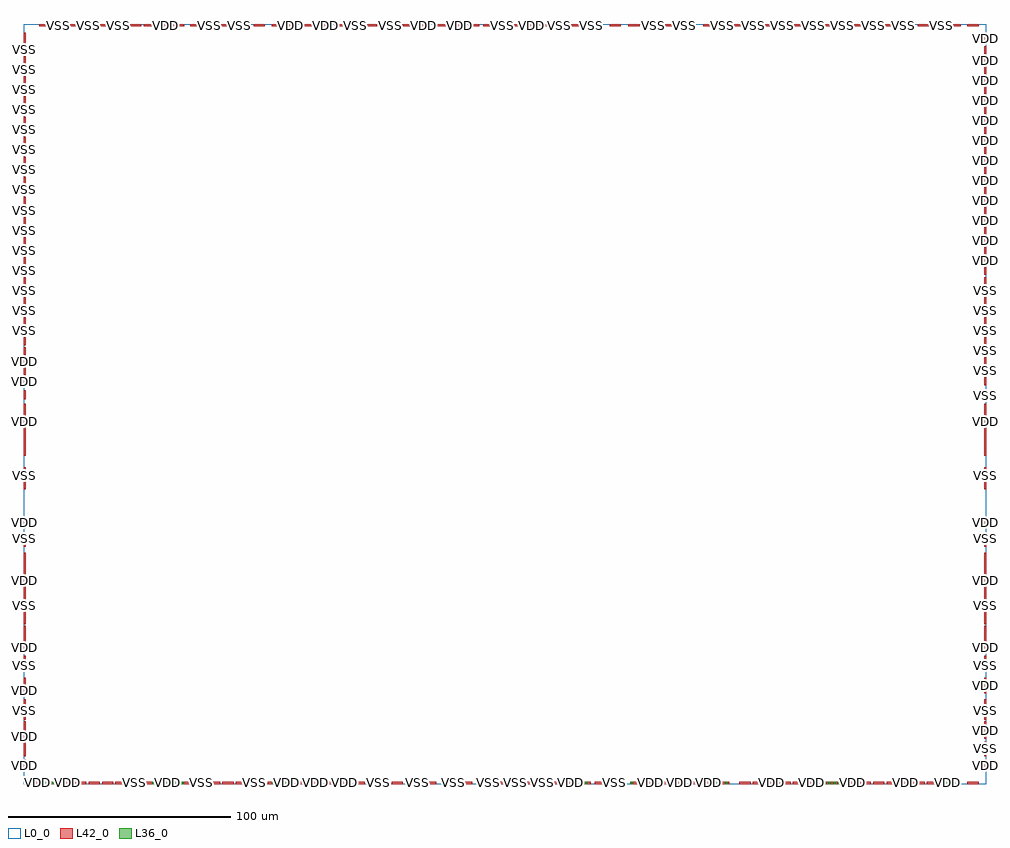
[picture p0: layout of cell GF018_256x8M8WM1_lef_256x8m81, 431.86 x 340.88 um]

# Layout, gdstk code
import gdstk
lib = gdstk.Library(unit=1e-6, precision=1e-09)
def R(c, l, rs):  # rectangles x0, y0, x1, y1
    for r in rs: c.add(gdstk.rectangle(r[:2], r[2:], *l))
def A(c, l, x, y, w, h, nx, ny, dx, dy):  # array of equal rectangles
    R(c, l, [(x+i*dx, y+j*dy, x+i*dx+w, y+j*dy+h) for i in range(nx) for j in range(ny)])
L0_0 = (0, 0)
L36_0 = (36, 0)
L42_0 = (42, 0)

gf018_256x8m8wm1_lef_256 = lib.new_cell('GF018_256x8M8WM1_lef_256x8m81')
R(gf018_256x8m8wm1_lef_256, L0_0, [(0,0,431.86,340.88)])
A(gf018_256x8m8wm1_lef_256, L42_0, 17.21, 0, 5, 1, 7, 1, 6, 0)
A(gf018_256x8m8wm1_lef_256, L42_0, 71.21, 0, 5, 1, 6, 1, 6, 0)
A(gf018_256x8m8wm1_lef_256, L42_0, 115.55, 0, 5, 1, 6, 1, 6.5, 0)
A(gf018_256x8m8wm1_lef_256, L42_0, 206.165, 0, 5, 1, 6, 1, 6, 0)
A(gf018_256x8m8wm1_lef_256, L42_0, 272.29, 0, 5, 1, 6, 1, 6.5, 0)
A(gf018_256x8m8wm1_lef_256, L42_0, 321.09, 0, 5, 1, 6, 1, 6, 0)
A(gf018_256x8m8wm1_lef_256, L42_0, 369.09, 0, 5, 1, 7, 1, 6, 0)
A(gf018_256x8m8wm1_lef_256, L42_0, 0, 178.88, 1, 3.5, 1, 34, 0, 4.5)
A(gf018_256x8m8wm1_lef_256, L42_0, 430.86, 178.88, 1, 3.5, 1, 34, 0, 4.5)
R(gf018_256x8m8wm1_lef_256, L42_0, [(3.53,0,8.53,1), (10.195,0,15.195,1), (62.215,0,67.215,1), (109.55,0,114.55,1), (156.62,0,161.62,1), (165.11,0,170.11,1), (174.155,0,179.155,1), (180.155,0,185.155,1), (190.14,0,195.14,1), (196.14,0,201.14,1), (242.83,0,247.83,1), (249.38,0,254.38,1), (256.165,0,261.165,1), (262.39,0,267.39,1), (311.475,0,316.475,1), (360.085,0,365.085,1), (412.095,0,417.095,1), (423.33,0,428.33,1), (0,6.16,1,11.16), (430.86,6.16,431.86,11.16), (0,12.51,1,18.86), (430.86,12.51,431.86,18.86), (0,20.3,1,28.145), (430.86,20.3,431.86,28.145), (0,28.83,1,37.98), (430.86,28.83,431.86,37.98), (0,40.76,1,47.575), (430.86,40.76,431.86,47.575), (0,50.88,1,57.465), (430.86,50.88,431.86,57.465), (0,60.18,1,70.89), (430.86,60.18,431.86,70.89), (0,71.64,1,88.65), (430.86,71.64,431.86,88.65), (0,90.08,1,103.695), (430.86,90.08,431.86,103.695), (0,106.41,1,111.41), (430.86,106.41,431.86,111.41), (0,114.69,1,119.69), (430.86,114.69,431.86,119.69), (0,132.175,1,142.08), (430.86,132.175,431.86,142.08), (0,147.15,1,170.625), (430.86,147.15,431.86,170.625), (0,172.68,1,176.63), (430.86,172.68,431.86,176.63), (0,331.88,1,336.88), (430.86,331.88,431.86,336.88), (7.005,339.88,12.005,340.88), (13.13,339.88,18.13,340.88), (20.685,339.88,25.685,340.88), (26.81,339.88,31.81,340.88), (34.005,339.88,39.005,340.88), (40.13,339.88,45.13,340.88), (47.685,339.88,52.685,340.88), (53.81,339.88,58.81,340.88), (61.005,339.88,66.005,340.88), (67.13,339.88,72.13,340.88), (74.685,339.88,79.685,340.88), (80.81,339.88,85.81,340.88), (88.005,339.88,93.005,340.88), (94.13,339.88,99.13,340.88), (103.265,339.88,108.265,340.88), (111.29,339.88,116.29,340.88), (117.415,339.88,122.415,340.88), (125.79,339.88,130.79,340.88), (132.86,339.88,137.86,340.88), (139.385,339.88,144.385,340.88), (146.365,339.88,151.365,340.88), (153.55,339.88,158.55,340.88), (161.905,339.88,166.905,340.88), (170.12,339.88,175.12,340.88), (177.075,339.88,182.075,340.88), (184.74,339.88,189.74,340.88), (192.925,339.88,197.925,340.88), (199.41,339.88,204.41,340.88), (206.15,339.88,211.15,340.88), (212.15,339.88,217.15,340.88), (218.565,339.88,223.565,340.88), (225.345,339.88,230.345,340.88), (231.565,339.88,236.565,340.88), (237.69,339.88,242.69,340.88), (244.505,339.88,249.505,340.88), (252.325,339.88,257.325,340.88), (262.845,339.88,267.845,340.88), (271.31,339.88,276.31,340.88), (279.95,339.88,284.95,340.88), (287.735,339.88,292.735,340.88), (293.955,339.88,298.955,340.88), (304.885,339.88,309.885,340.88), (311.01,339.88,316.01,340.88), (318.565,339.88,323.565,340.88), (324.69,339.88,329.69,340.88), (331.885,339.88,336.885,340.88), (338.01,339.88,343.01,340.88), (345.565,339.88,350.565,340.88), (351.69,339.88,356.69,340.88), (358.885,339.88,363.885,340.88), (365.01,339.88,370.01,340.88), (372.565,339.88,377.565,340.88), (378.69,339.88,383.69,340.88), (385.885,339.88,390.885,340.88), (392.01,339.88,397.01,340.88), (401.145,339.88,406.145,340.88), (409.17,339.88,414.17,340.88), (415.295,339.88,420.295,340.88), (423.33,339.88,428.33,340.88)])
gf018_256x8m8wm1_lef_256.add(gdstk.FlexPath([(67.83,0),(67.83,1)], 1.12, ends="flush", simple_path=True, layer=36, datatype=0))  # L36_0
gf018_256x8m8wm1_lef_256.add(gdstk.FlexPath([(65.83,0),(65.83,1)], 1.12, ends="flush", simple_path=True, layer=36, datatype=0))  # L36_0
gf018_256x8m8wm1_lef_256.add(gdstk.FlexPath([(154.855,0),(154.855,1)], 1.12, ends="flush", simple_path=True, layer=36, datatype=0))  # L36_0
gf018_256x8m8wm1_lef_256.add(gdstk.FlexPath([(163.32,0),(163.32,1)], 1.12, ends="flush", simple_path=True, layer=36, datatype=0))  # L36_0
gf018_256x8m8wm1_lef_256.add(gdstk.FlexPath([(269.42,0),(269.42,1)], 1.12, ends="flush", simple_path=True, layer=36, datatype=0))  # L36_0
gf018_256x8m8wm1_lef_256.add(gdstk.FlexPath([(171.775,0),(171.775,1)], 1.12, ends="flush", simple_path=True, layer=36, datatype=0))  # L36_0
gf018_256x8m8wm1_lef_256.add(gdstk.FlexPath([(203.5,0),(203.5,1)], 1.12, ends="flush", simple_path=True, layer=36, datatype=0))  # L36_0
gf018_256x8m8wm1_lef_256.add(gdstk.FlexPath([(252.27,0),(252.27,1)], 1.12, ends="flush", simple_path=True, layer=36, datatype=0))  # L36_0
gf018_256x8m8wm1_lef_256.add(gdstk.FlexPath([(272.645,0),(272.645,1)], 1.12, ends="flush", simple_path=True, layer=36, datatype=0))  # L36_0
gf018_256x8m8wm1_lef_256.add(gdstk.FlexPath([(276.38,0),(276.38,1)], 1.12, ends="flush", simple_path=True, layer=36, datatype=0))  # L36_0
gf018_256x8m8wm1_lef_256.add(gdstk.FlexPath([(281.885,0),(281.885,1)], 1.12, ends="flush", simple_path=True, layer=36, datatype=0))  # L36_0
gf018_256x8m8wm1_lef_256.add(gdstk.FlexPath([(307.795,0),(307.795,1)], 1.12, ends="flush", simple_path=True, layer=36, datatype=0))  # L36_0
gf018_256x8m8wm1_lef_256.add(gdstk.FlexPath([(311.135,0),(311.135,1)], 1.12, ends="flush", simple_path=True, layer=36, datatype=0))  # L36_0
gf018_256x8m8wm1_lef_256.add(gdstk.FlexPath([(315.35,0),(315.35,1)], 1.12, ends="flush", simple_path=True, layer=36, datatype=0))  # L36_0
gf018_256x8m8wm1_lef_256.add(gdstk.FlexPath([(356.105,0),(356.105,1)], 1.12, ends="flush", simple_path=True, layer=36, datatype=0))  # L36_0
gf018_256x8m8wm1_lef_256.add(gdstk.FlexPath([(359.47,0),(359.47,1)], 1.12, ends="flush", simple_path=True, layer=36, datatype=0))  # L36_0
gf018_256x8m8wm1_lef_256.add(gdstk.FlexPath([(361.46,0),(361.46,1)], 1.12, ends="flush", simple_path=True, layer=36, datatype=0))  # L36_0
gf018_256x8m8wm1_lef_256.add(gdstk.FlexPath([(363.71,0),(363.71,1)], 1.12, ends="flush", simple_path=True, layer=36, datatype=0))  # L36_0
gf018_256x8m8wm1_lef_256.add(gdstk.FlexPath([(365.71,0),(365.71,1)], 1.12, ends="flush", simple_path=True, layer=36, datatype=0))  # L36_0
gf018_256x8m8wm1_lef_256.add(gdstk.FlexPath([(369.075,0),(369.075,1)], 1.12, ends="flush", simple_path=True, layer=36, datatype=0))  # L36_0
gf018_256x8m8wm1_lef_256.add(gdstk.FlexPath([(409.835,0),(409.835,1)], 1.12, ends="flush", simple_path=True, layer=36, datatype=0))  # L36_0
gf018_256x8m8wm1_lef_256.add(gdstk.FlexPath([(414.035,0),(414.035,1)], 1.12, ends="flush", simple_path=True, layer=36, datatype=0))  # L36_0
gf018_256x8m8wm1_lef_256.add(gdstk.FlexPath([(71.195,0),(71.195,1)], 1.12, ends="flush", simple_path=True, layer=36, datatype=0))  # L36_0
gf018_256x8m8wm1_lef_256.add(gdstk.FlexPath([(111.955,0),(111.955,1)], 1.12, ends="flush", simple_path=True, layer=36, datatype=0))  # L36_0
gf018_256x8m8wm1_lef_256.add(gdstk.FlexPath([(117.58,0),(117.58,1)], 1.12, ends="flush", simple_path=True, layer=36, datatype=0))  # L36_0
gf018_256x8m8wm1_lef_256.add(gdstk.FlexPath([(119.535,0),(119.535,1)], 1.12, ends="flush", simple_path=True, layer=36, datatype=0))  # L36_0
gf018_256x8m8wm1_lef_256.add(gdstk.FlexPath([(140.24,0),(140.24,1)], 1.12, ends="flush", simple_path=True, layer=36, datatype=0))  # L36_0
gf018_256x8m8wm1_lef_256.add(gdstk.FlexPath([(149.085,0),(149.085,1)], 1.12, ends="flush", simple_path=True, layer=36, datatype=0))  # L36_0
gf018_256x8m8wm1_lef_256.add(gdstk.FlexPath([(417.42,0),(417.42,1)], 1.12, ends="flush", simple_path=True, layer=36, datatype=0))  # L36_0
gf018_256x8m8wm1_lef_256.add(gdstk.FlexPath([(9.88,0),(9.88,1)], 1.12, ends="flush", simple_path=True, layer=36, datatype=0))  # L36_0
gf018_256x8m8wm1_lef_256.add(gdstk.FlexPath([(13.255,0),(13.255,1)], 1.12, ends="flush", simple_path=True, layer=36, datatype=0))  # L36_0
gf018_256x8m8wm1_lef_256.add(gdstk.FlexPath([(17.46,0),(17.46,1)], 1.12, ends="flush", simple_path=True, layer=36, datatype=0))  # L36_0
gf018_256x8m8wm1_lef_256.add(gdstk.FlexPath([(58.225,0),(58.225,1)], 1.12, ends="flush", simple_path=True, layer=36, datatype=0))  # L36_0
gf018_256x8m8wm1_lef_256.add(gdstk.FlexPath([(61.59,0),(61.59,1)], 1.12, ends="flush", simple_path=True, layer=36, datatype=0))  # L36_0
gf018_256x8m8wm1_lef_256.add(gdstk.FlexPath([(63.58,0),(63.58,1)], 1.12, ends="flush", simple_path=True, layer=36, datatype=0))  # L36_0
gf018_256x8m8wm1_lef_256.add(gdstk.Label('VSS', (431.4,194.45), layer=42, texttype=10))
gf018_256x8m8wm1_lef_256.add(gdstk.Label('VSS', (431.4,174.47), layer=42, texttype=10))
gf018_256x8m8wm1_lef_256.add(gdstk.Label('VSS', (354.19,340.415), layer=42, texttype=10))
gf018_256x8m8wm1_lef_256.add(gdstk.Label('VSS', (431.4,185.45), layer=42, texttype=10))
gf018_256x8m8wm1_lef_256.add(gdstk.Label('VSS', (313.51,340.415), layer=42, texttype=10))
gf018_256x8m8wm1_lef_256.add(gdstk.Label('VSS', (411.67,340.415), layer=42, texttype=10))
gf018_256x8m8wm1_lef_256.add(gdstk.Label('VSS', (381.19,340.415), layer=42, texttype=10))
gf018_256x8m8wm1_lef_256.add(gdstk.Label('VSS', (296.455,340.415), layer=42, texttype=10))
gf018_256x8m8wm1_lef_256.add(gdstk.Label('VDD', (227.845,340.415), layer=42, texttype=10))
gf018_256x8m8wm1_lef_256.add(gdstk.Label('VDD', (234.065,340.415), layer=42, texttype=10))
gf018_256x8m8wm1_lef_256.add(gdstk.Label('VSS', (221.065,340.415), layer=42, texttype=10))
gf018_256x8m8wm1_lef_256.add(gdstk.Label('VSS', (254.825,340.415), layer=42, texttype=10))
gf018_256x8m8wm1_lef_256.add(gdstk.Label('VDD', (417.795,340.415), layer=42, texttype=10))
gf018_256x8m8wm1_lef_256.add(gdstk.Label('VDD', (388.385,340.415), layer=42, texttype=10))
gf018_256x8m8wm1_lef_256.add(gdstk.Label('VDD', (348.065,340.415), layer=42, texttype=10))
gf018_256x8m8wm1_lef_256.add(gdstk.Label('VDD', (307.385,340.415), layer=42, texttype=10))
gf018_256x8m8wm1_lef_256.add(gdstk.Label('VDD', (403.645,340.415), layer=42, texttype=10))
gf018_256x8m8wm1_lef_256.add(gdstk.Label('VDD', (290.235,340.415), layer=42, texttype=10))
gf018_256x8m8wm1_lef_256.add(gdstk.Label('VSS', (240.19,340.415), layer=42, texttype=10))
gf018_256x8m8wm1_lef_256.add(gdstk.Label('VDD', (265.345,340.415), layer=42, texttype=10))
gf018_256x8m8wm1_lef_256.add(gdstk.Label('VSS', (282.45,340.415), layer=42, texttype=10))
gf018_256x8m8wm1_lef_256.add(gdstk.Label('VDD', (431.4,334.38), layer=42, texttype=10))
gf018_256x8m8wm1_lef_256.add(gdstk.Label('VDD', (273.81,340.415), layer=42, texttype=10))
gf018_256x8m8wm1_lef_256.add(gdstk.Label('VDD', (247.005,340.415), layer=42, texttype=10))
gf018_256x8m8wm1_lef_256.add(gdstk.Label('VDD', (375.065,340.415), layer=42, texttype=10))
gf018_256x8m8wm1_lef_256.add(gdstk.Label('VDD', (431.4,198.63), layer=42, texttype=10))
gf018_256x8m8wm1_lef_256.add(gdstk.Label('VSS', (431.4,212.45), layer=42, texttype=10))
gf018_256x8m8wm1_lef_256.add(gdstk.Label('VDD', (321.065,340.415), layer=42, texttype=10))
gf018_256x8m8wm1_lef_256.add(gdstk.Label('VDD', (431.4,207.63), layer=42, texttype=10))
gf018_256x8m8wm1_lef_256.add(gdstk.Label('VDD', (361.385,340.415), layer=42, texttype=10))
gf018_256x8m8wm1_lef_256.add(gdstk.Label('VDD', (425.83,340.415), layer=42, texttype=10))
gf018_256x8m8wm1_lef_256.add(gdstk.Label('VDD', (431.4,216.63), layer=42, texttype=10))
gf018_256x8m8wm1_lef_256.add(gdstk.Label('VSS', (431.4,203.45), layer=42, texttype=10))
gf018_256x8m8wm1_lef_256.add(gdstk.Label('VSS', (431.4,221.45), layer=42, texttype=10))
gf018_256x8m8wm1_lef_256.add(gdstk.Label('VSS', (340.51,340.415), layer=42, texttype=10))
gf018_256x8m8wm1_lef_256.add(gdstk.Label('VSS', (367.51,340.415), layer=42, texttype=10))
gf018_256x8m8wm1_lef_256.add(gdstk.Label('VSS', (327.19,340.415), layer=42, texttype=10))
gf018_256x8m8wm1_lef_256.add(gdstk.Label('VSS', (394.51,340.415), layer=42, texttype=10))
gf018_256x8m8wm1_lef_256.add(gdstk.Label('VSS', (431.4,329.45), layer=42, texttype=10))
gf018_256x8m8wm1_lef_256.add(gdstk.Label('VDD', (431.4,324.63), layer=42, texttype=10))
gf018_256x8m8wm1_lef_256.add(gdstk.Label('VSS', (431.4,320.45), layer=42, texttype=10))
gf018_256x8m8wm1_lef_256.add(gdstk.Label('VDD', (431.4,189.63), layer=42, texttype=10))
gf018_256x8m8wm1_lef_256.add(gdstk.Label('VDD', (431.4,180.63), layer=42, texttype=10))
gf018_256x8m8wm1_lef_256.add(gdstk.Label('VDD', (431.4,315.63), layer=42, texttype=10))
gf018_256x8m8wm1_lef_256.add(gdstk.Label('VSS', (431.4,311.45), layer=42, texttype=10))
gf018_256x8m8wm1_lef_256.add(gdstk.Label('VDD', (431.4,306.63), layer=42, texttype=10))
gf018_256x8m8wm1_lef_256.add(gdstk.Label('VSS', (431.4,302.45), layer=42, texttype=10))
gf018_256x8m8wm1_lef_256.add(gdstk.Label('VDD', (431.4,297.63), layer=42, texttype=10))
gf018_256x8m8wm1_lef_256.add(gdstk.Label('VSS', (431.4,293.45), layer=42, texttype=10))
gf018_256x8m8wm1_lef_256.add(gdstk.Label('VDD', (431.4,288.63), layer=42, texttype=10))
gf018_256x8m8wm1_lef_256.add(gdstk.Label('VSS', (431.4,284.45), layer=42, texttype=10))
gf018_256x8m8wm1_lef_256.add(gdstk.Label('VDD', (431.4,279.63), layer=42, texttype=10))
gf018_256x8m8wm1_lef_256.add(gdstk.Label('VSS', (431.4,275.45), layer=42, texttype=10))
gf018_256x8m8wm1_lef_256.add(gdstk.Label('VDD', (431.4,270.63), layer=42, texttype=10))
gf018_256x8m8wm1_lef_256.add(gdstk.Label('VSS', (431.4,266.45), layer=42, texttype=10))
gf018_256x8m8wm1_lef_256.add(gdstk.Label('VDD', (431.4,261.63), layer=42, texttype=10))
gf018_256x8m8wm1_lef_256.add(gdstk.Label('VSS', (431.4,257.45), layer=42, texttype=10))
gf018_256x8m8wm1_lef_256.add(gdstk.Label('VDD', (431.4,252.63), layer=42, texttype=10))
gf018_256x8m8wm1_lef_256.add(gdstk.Label('VSS', (431.4,248.45), layer=42, texttype=10))
gf018_256x8m8wm1_lef_256.add(gdstk.Label('VDD', (431.4,243.63), layer=42, texttype=10))
gf018_256x8m8wm1_lef_256.add(gdstk.Label('VSS', (431.4,239.45), layer=42, texttype=10))
gf018_256x8m8wm1_lef_256.add(gdstk.Label('VDD', (431.4,234.63), layer=42, texttype=10))
gf018_256x8m8wm1_lef_256.add(gdstk.Label('VSS', (431.4,230.45), layer=42, texttype=10))
gf018_256x8m8wm1_lef_256.add(gdstk.Label('VDD', (431.4,225.63), layer=42, texttype=10))
gf018_256x8m8wm1_lef_256.add(gdstk.Label('VDD', (334.385,340.415), layer=42, texttype=10))
gf018_256x8m8wm1_lef_256.add(gdstk.Label('VSS', (0.5,329.45), layer=42, texttype=10))
gf018_256x8m8wm1_lef_256.add(gdstk.Label('VSS', (29.31,340.415), layer=42, texttype=10))
gf018_256x8m8wm1_lef_256.add(gdstk.Label('VDD', (0.5,324.63), layer=42, texttype=10))
gf018_256x8m8wm1_lef_256.add(gdstk.Label('VSS', (83.31,340.415), layer=42, texttype=10))
gf018_256x8m8wm1_lef_256.add(gdstk.Label('VSS', (0.5,320.45), layer=42, texttype=10))
gf018_256x8m8wm1_lef_256.add(gdstk.Label('VSS', (148.865,340.415), layer=42, texttype=10))
gf018_256x8m8wm1_lef_256.add(gdstk.Label('VSS', (164.405,340.415), layer=42, texttype=10))
gf018_256x8m8wm1_lef_256.add(gdstk.Label('VDD', (63.505,340.415), layer=42, texttype=10))
gf018_256x8m8wm1_lef_256.add(gdstk.Label('VDD', (0.5,315.63), layer=42, texttype=10))
gf018_256x8m8wm1_lef_256.add(gdstk.Label('VSS', (15.63,340.415), layer=42, texttype=10))
gf018_256x8m8wm1_lef_256.add(gdstk.Label('VSS', (0.5,311.45), layer=42, texttype=10))
gf018_256x8m8wm1_lef_256.add(gdstk.Label('VSS', (69.63,340.415), layer=42, texttype=10))
gf018_256x8m8wm1_lef_256.add(gdstk.Label('VDD', (0.5,306.63), layer=42, texttype=10))
gf018_256x8m8wm1_lef_256.add(gdstk.Label('VSS', (96.63,340.415), layer=42, texttype=10))
gf018_256x8m8wm1_lef_256.add(gdstk.Label('VSS', (0.5,302.45), layer=42, texttype=10))
gf018_256x8m8wm1_lef_256.add(gdstk.Label('VSS', (141.885,340.415), layer=42, texttype=10))
gf018_256x8m8wm1_lef_256.add(gdstk.Label('VDD', (0.5,297.63), layer=42, texttype=10))
gf018_256x8m8wm1_lef_256.add(gdstk.Label('VSS', (214.65,340.415), layer=42, texttype=10))
gf018_256x8m8wm1_lef_256.add(gdstk.Label('VSS', (0.5,293.45), layer=42, texttype=10))
gf018_256x8m8wm1_lef_256.add(gdstk.Label('VSS', (172.62,340.415), layer=42, texttype=10))
gf018_256x8m8wm1_lef_256.add(gdstk.Label('VDD', (0.5,288.63), layer=42, texttype=10))
gf018_256x8m8wm1_lef_256.add(gdstk.Label('VDD', (23.185,340.415), layer=42, texttype=10))
gf018_256x8m8wm1_lef_256.add(gdstk.Label('VSS', (0.5,284.45), layer=42, texttype=10))
gf018_256x8m8wm1_lef_256.add(gdstk.Label('VSS', (56.31,340.415), layer=42, texttype=10))
gf018_256x8m8wm1_lef_256.add(gdstk.Label('VDD', (0.5,279.63), layer=42, texttype=10))
gf018_256x8m8wm1_lef_256.add(gdstk.Label('VDD', (195.425,340.415), layer=42, texttype=10))
gf018_256x8m8wm1_lef_256.add(gdstk.Label('VSS', (0.5,275.45), layer=42, texttype=10))
gf018_256x8m8wm1_lef_256.add(gdstk.Label('VDD', (77.185,340.415), layer=42, texttype=10))
gf018_256x8m8wm1_lef_256.add(gdstk.Label('VDD', (0.5,270.63), layer=42, texttype=10))
gf018_256x8m8wm1_lef_256.add(gdstk.Label('VDD', (156.05,340.415), layer=42, texttype=10))
gf018_256x8m8wm1_lef_256.add(gdstk.Label('VSS', (0.5,266.45), layer=42, texttype=10))
gf018_256x8m8wm1_lef_256.add(gdstk.Label('VSS', (42.63,340.415), layer=42, texttype=10))
gf018_256x8m8wm1_lef_256.add(gdstk.Label('VDD', (0.5,261.63), layer=42, texttype=10))
gf018_256x8m8wm1_lef_256.add(gdstk.Label('VSS', (0.5,257.45), layer=42, texttype=10))
gf018_256x8m8wm1_lef_256.add(gdstk.Label('VDD', (0.5,252.63), layer=42, texttype=10))
gf018_256x8m8wm1_lef_256.add(gdstk.Label('VSS', (0.5,248.45), layer=42, texttype=10))
gf018_256x8m8wm1_lef_256.add(gdstk.Label('VDD', (0.5,243.63), layer=42, texttype=10))
gf018_256x8m8wm1_lef_256.add(gdstk.Label('VSS', (0.5,239.45), layer=42, texttype=10))
gf018_256x8m8wm1_lef_256.add(gdstk.Label('VDD', (0.5,234.63), layer=42, texttype=10))
gf018_256x8m8wm1_lef_256.add(gdstk.Label('VSS', (0.5,230.45), layer=42, texttype=10))
gf018_256x8m8wm1_lef_256.add(gdstk.Label('VDD', (0.5,189.63), layer=42, texttype=10))
gf018_256x8m8wm1_lef_256.add(gdstk.Label('VSS', (0.5,185.45), layer=42, texttype=10))
gf018_256x8m8wm1_lef_256.add(gdstk.Label('VDD', (0.5,180.63), layer=42, texttype=10))
gf018_256x8m8wm1_lef_256.add(gdstk.Label('VSS', (0.5,174.47), layer=42, texttype=10))
gf018_256x8m8wm1_lef_256.add(gdstk.Label('VDD', (0.5,334.38), layer=42, texttype=10))
gf018_256x8m8wm1_lef_256.add(gdstk.Label('VSS', (0.5,221.45), layer=42, texttype=10))
gf018_256x8m8wm1_lef_256.add(gdstk.Label('VDD', (0.5,216.63), layer=42, texttype=10))
gf018_256x8m8wm1_lef_256.add(gdstk.Label('VSS', (0.5,212.45), layer=42, texttype=10))
gf018_256x8m8wm1_lef_256.add(gdstk.Label('VDD', (0.5,207.63), layer=42, texttype=10))
gf018_256x8m8wm1_lef_256.add(gdstk.Label('VSS', (0.5,203.45), layer=42, texttype=10))
gf018_256x8m8wm1_lef_256.add(gdstk.Label('VDD', (0.5,198.63), layer=42, texttype=10))
gf018_256x8m8wm1_lef_256.add(gdstk.Label('VSS', (0.5,194.45), layer=42, texttype=10))
gf018_256x8m8wm1_lef_256.add(gdstk.Label('VDD', (0.5,225.63), layer=42, texttype=10))
gf018_256x8m8wm1_lef_256.add(gdstk.Label('VDD', (90.505,340.415), layer=42, texttype=10))
gf018_256x8m8wm1_lef_256.add(gdstk.Label('VDD', (105.765,340.415), layer=42, texttype=10))
gf018_256x8m8wm1_lef_256.add(gdstk.Label('VDD', (208.65,340.415), layer=42, texttype=10))
gf018_256x8m8wm1_lef_256.add(gdstk.Label('VDD', (135.36,340.415), layer=42, texttype=10))
gf018_256x8m8wm1_lef_256.add(gdstk.Label('VDD', (36.505,340.415), layer=42, texttype=10))
gf018_256x8m8wm1_lef_256.add(gdstk.Label('VDD', (179.575,340.415), layer=42, texttype=10))
gf018_256x8m8wm1_lef_256.add(gdstk.Label('VSS', (128.29,340.415), layer=42, texttype=10))
gf018_256x8m8wm1_lef_256.add(gdstk.Label('VDD', (119.915,340.415), layer=42, texttype=10))
gf018_256x8m8wm1_lef_256.add(gdstk.Label('VSS', (201.91,340.415), layer=42, texttype=10))
gf018_256x8m8wm1_lef_256.add(gdstk.Label('VSS', (187.24,340.415), layer=42, texttype=10))
gf018_256x8m8wm1_lef_256.add(gdstk.Label('VDD', (50.185,340.415), layer=42, texttype=10))
gf018_256x8m8wm1_lef_256.add(gdstk.Label('VSS', (113.79,340.415), layer=42, texttype=10))
gf018_256x8m8wm1_lef_256.add(gdstk.Label('VDD', (9.505,340.415), layer=42, texttype=10))
gf018_256x8m8wm1_lef_256.add(gdstk.Label('VSS', (0.5,80.175), layer=42, texttype=10))
gf018_256x8m8wm1_lef_256.add(gdstk.Label('VSS', (159.115,0.5), layer=42, texttype=10))
gf018_256x8m8wm1_lef_256.add(gdstk.Label('VSS', (167.605,0.5), layer=42, texttype=10))
gf018_256x8m8wm1_lef_256.add(gdstk.Label('VSS', (176.66,0.5), layer=42, texttype=10))
gf018_256x8m8wm1_lef_256.add(gdstk.Label('VSS', (192.645,0.5), layer=42, texttype=10))
gf018_256x8m8wm1_lef_256.add(gdstk.Label('VSS', (208.665,0.5), layer=42, texttype=10))
gf018_256x8m8wm1_lef_256.add(gdstk.Label('VDD', (0.5,41.775), layer=42, texttype=10))
gf018_256x8m8wm1_lef_256.add(gdstk.Label('VSS', (0.5,32.985), layer=42, texttype=10))
gf018_256x8m8wm1_lef_256.add(gdstk.Label('VDD', (0.5,162.595), layer=42, texttype=10))
gf018_256x8m8wm1_lef_256.add(gdstk.Label('VSS', (0.5,138.295), layer=42, texttype=10))
gf018_256x8m8wm1_lef_256.add(gdstk.Label('VDD', (0.5,117.12), layer=42, texttype=10))
gf018_256x8m8wm1_lef_256.add(gdstk.Label('VSS', (0.5,110.19), layer=42, texttype=10))
gf018_256x8m8wm1_lef_256.add(gdstk.Label('VDD', (0.5,91.095), layer=42, texttype=10))
gf018_256x8m8wm1_lef_256.add(gdstk.Label('VDD', (0.5,21.315), layer=42, texttype=10))
gf018_256x8m8wm1_lef_256.add(gdstk.Label('VSS', (79.715,0.5), layer=42, texttype=10))
gf018_256x8m8wm1_lef_256.add(gdstk.Label('VSS', (0.5,15.815), layer=42, texttype=10))
gf018_256x8m8wm1_lef_256.add(gdstk.Label('VDD', (0.5,8.445), layer=42, texttype=10))
gf018_256x8m8wm1_lef_256.add(gdstk.Label('VDD', (19.71,0.5), layer=42, texttype=10))
gf018_256x8m8wm1_lef_256.add(gdstk.Label('VDD', (0.5,61.195), layer=42, texttype=10))
gf018_256x8m8wm1_lef_256.add(gdstk.Label('VDD', (6.03,0.5), layer=42, texttype=10))
gf018_256x8m8wm1_lef_256.add(gdstk.Label('VSS', (49.705,0.5), layer=42, texttype=10))
gf018_256x8m8wm1_lef_256.add(gdstk.Label('VSS', (103.705,0.5), layer=42, texttype=10))
gf018_256x8m8wm1_lef_256.add(gdstk.Label('VDD', (144.05,0.5), layer=42, texttype=10))
gf018_256x8m8wm1_lef_256.add(gdstk.Label('VDD', (112.05,0.5), layer=42, texttype=10))
gf018_256x8m8wm1_lef_256.add(gdstk.Label('VDD', (118.05,0.5), layer=42, texttype=10))
gf018_256x8m8wm1_lef_256.add(gdstk.Label('VDD', (124.55,0.5), layer=42, texttype=10))
gf018_256x8m8wm1_lef_256.add(gdstk.Label('VDD', (131.05,0.5), layer=42, texttype=10))
gf018_256x8m8wm1_lef_256.add(gdstk.Label('VDD', (137.55,0.5), layer=42, texttype=10))
gf018_256x8m8wm1_lef_256.add(gdstk.Label('VDD', (12.695,0.5), layer=42, texttype=10))
gf018_256x8m8wm1_lef_256.add(gdstk.Label('VDD', (182.655,0.5), layer=42, texttype=10))
gf018_256x8m8wm1_lef_256.add(gdstk.Label('VDD', (198.64,0.5), layer=42, texttype=10))
gf018_256x8m8wm1_lef_256.add(gdstk.Label('VDD', (214.665,0.5), layer=42, texttype=10))
gf018_256x8m8wm1_lef_256.add(gdstk.Label('VDD', (31.71,0.5), layer=42, texttype=10))
gf018_256x8m8wm1_lef_256.add(gdstk.Label('VDD', (37.71,0.5), layer=42, texttype=10))
gf018_256x8m8wm1_lef_256.add(gdstk.Label('VDD', (43.71,0.5), layer=42, texttype=10))
gf018_256x8m8wm1_lef_256.add(gdstk.Label('VDD', (55.71,0.5), layer=42, texttype=10))
gf018_256x8m8wm1_lef_256.add(gdstk.Label('VDD', (64.715,0.5), layer=42, texttype=10))
gf018_256x8m8wm1_lef_256.add(gdstk.Label('VDD', (73.71,0.5), layer=42, texttype=10))
gf018_256x8m8wm1_lef_256.add(gdstk.Label('VDD', (85.71,0.5), layer=42, texttype=10))
gf018_256x8m8wm1_lef_256.add(gdstk.Label('VDD', (91.71,0.5), layer=42, texttype=10))
gf018_256x8m8wm1_lef_256.add(gdstk.Label('VDD', (97.71,0.5), layer=42, texttype=10))
gf018_256x8m8wm1_lef_256.add(gdstk.Label('VSS', (25.715,0.5), layer=42, texttype=10))
gf018_256x8m8wm1_lef_256.add(gdstk.Label('VDD', (150.55,0.5), layer=42, texttype=10))
gf018_256x8m8wm1_lef_256.add(gdstk.Label('VSS', (0.5,53.14), layer=42, texttype=10))
gf018_256x8m8wm1_lef_256.add(gdstk.Label('VDD', (431.4,117.12), layer=42, texttype=10))
gf018_256x8m8wm1_lef_256.add(gdstk.Label('VDD', (431.4,91.095), layer=42, texttype=10))
gf018_256x8m8wm1_lef_256.add(gdstk.Label('VSS', (431.4,32.985), layer=42, texttype=10))
gf018_256x8m8wm1_lef_256.add(gdstk.Label('VDD', (431.4,43.985), layer=42, texttype=10))
gf018_256x8m8wm1_lef_256.add(gdstk.Label('VDD', (431.4,8.445), layer=42, texttype=10))
gf018_256x8m8wm1_lef_256.add(gdstk.Label('VDD', (335.59,0.5), layer=42, texttype=10))
gf018_256x8m8wm1_lef_256.add(gdstk.Label('VDD', (414.595,0.5), layer=42, texttype=10))
gf018_256x8m8wm1_lef_256.add(gdstk.Label('VDD', (329.59,0.5), layer=42, texttype=10))
gf018_256x8m8wm1_lef_256.add(gdstk.Label('VDD', (307.29,0.5), layer=42, texttype=10))
gf018_256x8m8wm1_lef_256.add(gdstk.Label('VDD', (425.83,0.5), layer=42, texttype=10))
gf018_256x8m8wm1_lef_256.add(gdstk.Label('VSS', (431.4,53.14), layer=42, texttype=10))
gf018_256x8m8wm1_lef_256.add(gdstk.Label('VDD', (395.59,0.5), layer=42, texttype=10))
gf018_256x8m8wm1_lef_256.add(gdstk.Label('VDD', (407.59,0.5), layer=42, texttype=10))
gf018_256x8m8wm1_lef_256.add(gdstk.Label('VDD', (389.59,0.5), layer=42, texttype=10))
gf018_256x8m8wm1_lef_256.add(gdstk.Label('VSS', (431.4,80.175), layer=42, texttype=10))
gf018_256x8m8wm1_lef_256.add(gdstk.Label('VSS', (264.895,0.5), layer=42, texttype=10))
gf018_256x8m8wm1_lef_256.add(gdstk.Label('VSS', (401.59,0.5), layer=42, texttype=10))
gf018_256x8m8wm1_lef_256.add(gdstk.Label('VSS', (258.665,0.5), layer=42, texttype=10))
gf018_256x8m8wm1_lef_256.add(gdstk.Label('VDD', (294.29,0.5), layer=42, texttype=10))
gf018_256x8m8wm1_lef_256.add(gdstk.Label('VDD', (281.29,0.5), layer=42, texttype=10))
gf018_256x8m8wm1_lef_256.add(gdstk.Label('VDD', (287.79,0.5), layer=42, texttype=10))
gf018_256x8m8wm1_lef_256.add(gdstk.Label('VSS', (431.4,138.295), layer=42, texttype=10))
gf018_256x8m8wm1_lef_256.add(gdstk.Label('VSS', (431.4,110.19), layer=42, texttype=10))
gf018_256x8m8wm1_lef_256.add(gdstk.Label('VSS', (232.665,0.5), layer=42, texttype=10))
gf018_256x8m8wm1_lef_256.add(gdstk.Label('VSS', (431.4,15.815), layer=42, texttype=10))
gf018_256x8m8wm1_lef_256.add(gdstk.Label('VDD', (431.4,24.22), layer=42, texttype=10))
gf018_256x8m8wm1_lef_256.add(gdstk.Label('VDD', (383.59,0.5), layer=42, texttype=10))
gf018_256x8m8wm1_lef_256.add(gdstk.Label('VSS', (220.665,0.5), layer=42, texttype=10))
gf018_256x8m8wm1_lef_256.add(gdstk.Label('VDD', (341.59,0.5), layer=42, texttype=10))
gf018_256x8m8wm1_lef_256.add(gdstk.Label('VDD', (353.59,0.5), layer=42, texttype=10))
gf018_256x8m8wm1_lef_256.add(gdstk.Label('VDD', (362.585,0.5), layer=42, texttype=10))
gf018_256x8m8wm1_lef_256.add(gdstk.Label('VDD', (371.59,0.5), layer=42, texttype=10))
gf018_256x8m8wm1_lef_256.add(gdstk.Label('VDD', (300.79,0.5), layer=42, texttype=10))
gf018_256x8m8wm1_lef_256.add(gdstk.Label('VDD', (226.665,0.5), layer=42, texttype=10))
gf018_256x8m8wm1_lef_256.add(gdstk.Label('VDD', (238.665,0.5), layer=42, texttype=10))
gf018_256x8m8wm1_lef_256.add(gdstk.Label('VDD', (431.4,162.595), layer=42, texttype=10))
gf018_256x8m8wm1_lef_256.add(gdstk.Label('VDD', (313.975,0.5), layer=42, texttype=10))
gf018_256x8m8wm1_lef_256.add(gdstk.Label('VDD', (274.79,0.5), layer=42, texttype=10))
gf018_256x8m8wm1_lef_256.add(gdstk.Label('VSS', (347.59,0.5), layer=42, texttype=10))
gf018_256x8m8wm1_lef_256.add(gdstk.Label('VSS', (323.59,0.5), layer=42, texttype=10))
gf018_256x8m8wm1_lef_256.add(gdstk.Label('VSS', (377.59,0.5), layer=42, texttype=10))
gf018_256x8m8wm1_lef_256.add(gdstk.Label('VDD', (245.33,0.5), layer=42, texttype=10))
gf018_256x8m8wm1_lef_256.add(gdstk.Label('VDD', (431.4,61.195), layer=42, texttype=10))
gf018_256x8m8wm1_lef_256.add(gdstk.Label('VDD', (251.88,0.5), layer=42, texttype=10))
gf018_256x8m8wm1_lef_256.add(gdstk.Label('CLK', (140.24,0.5), layer=36, texttype=10))
gf018_256x8m8wm1_lef_256.add(gdstk.Label('D[0]', (9.88,0.5), layer=36, texttype=10))
gf018_256x8m8wm1_lef_256.add(gdstk.Label('A[2]', (154.855,0.5), layer=36, texttype=10))
gf018_256x8m8wm1_lef_256.add(gdstk.Label('A[1]', (163.32,0.5), layer=36, texttype=10))
gf018_256x8m8wm1_lef_256.add(gdstk.Label('A[0]', (171.775,0.5), layer=36, texttype=10))
gf018_256x8m8wm1_lef_256.add(gdstk.Label('Q[2]', (71.195,0.5), layer=36, texttype=10))
gf018_256x8m8wm1_lef_256.add(gdstk.Label('Q[3]', (111.955,0.5), layer=36, texttype=10))
gf018_256x8m8wm1_lef_256.add(gdstk.Label('CEN', (252.27,0.5), layer=36, texttype=10))
gf018_256x8m8wm1_lef_256.add(gdstk.Label('A[5]', (272.645,0.5), layer=36, texttype=10))
gf018_256x8m8wm1_lef_256.add(gdstk.Label('A[4]', (276.38,0.5), layer=36, texttype=10))
gf018_256x8m8wm1_lef_256.add(gdstk.Label('WEN[3]', (117.58,0.5), layer=36, texttype=10))
gf018_256x8m8wm1_lef_256.add(gdstk.Label('D[7]', (417.42,0.5), layer=36, texttype=10))
gf018_256x8m8wm1_lef_256.add(gdstk.Label('Q[7]', (409.835,0.5), layer=36, texttype=10))
gf018_256x8m8wm1_lef_256.add(gdstk.Label('D[3]', (119.535,0.5), layer=36, texttype=10))
gf018_256x8m8wm1_lef_256.add(gdstk.Label('D[1]', (61.59,0.5), layer=36, texttype=10))
gf018_256x8m8wm1_lef_256.add(gdstk.Label('D[2]', (67.83,0.5), layer=36, texttype=10))
gf018_256x8m8wm1_lef_256.add(gdstk.Label('A[3]', (281.885,0.5), layer=36, texttype=10))
gf018_256x8m8wm1_lef_256.add(gdstk.Label('Q[1]', (58.225,0.5), layer=36, texttype=10))
gf018_256x8m8wm1_lef_256.add(gdstk.Label('Q[6]', (369.075,0.5), layer=36, texttype=10))
gf018_256x8m8wm1_lef_256.add(gdstk.Label('D[5]', (359.47,0.5), layer=36, texttype=10))
gf018_256x8m8wm1_lef_256.add(gdstk.Label('Q[4]', (315.35,0.5), layer=36, texttype=10))
gf018_256x8m8wm1_lef_256.add(gdstk.Label('WEN[5]', (361.46,0.5), layer=36, texttype=10))
gf018_256x8m8wm1_lef_256.add(gdstk.Label('WEN[2]', (65.83,0.5), layer=36, texttype=10))
gf018_256x8m8wm1_lef_256.add(gdstk.Label('WEN[1]', (63.58,0.5), layer=36, texttype=10))
gf018_256x8m8wm1_lef_256.add(gdstk.Label('WEN[4]', (311.135,0.5), layer=36, texttype=10))
gf018_256x8m8wm1_lef_256.add(gdstk.Label('WEN[7]', (414.035,0.5), layer=36, texttype=10))
gf018_256x8m8wm1_lef_256.add(gdstk.Label('WEN[6]', (363.71,0.5), layer=36, texttype=10))
gf018_256x8m8wm1_lef_256.add(gdstk.Label('D[4]', (307.795,0.5), layer=36, texttype=10))
gf018_256x8m8wm1_lef_256.add(gdstk.Label('D[6]', (365.71,0.5), layer=36, texttype=10))
gf018_256x8m8wm1_lef_256.add(gdstk.Label('Q[5]', (356.105,0.5), layer=36, texttype=10))
gf018_256x8m8wm1_lef_256.add(gdstk.Label('Q[0]', (17.46,0.5), layer=36, texttype=10))
gf018_256x8m8wm1_lef_256.add(gdstk.Label('GWEN', (203.5,0.5), layer=36, texttype=10))
gf018_256x8m8wm1_lef_256.add(gdstk.Label('WEN[0]', (13.255,0.5), layer=36, texttype=10))
gf018_256x8m8wm1_lef_256.add(gdstk.Label('A[7]', (149.085,0.5), layer=36, texttype=10))
gf018_256x8m8wm1_lef_256.add(gdstk.Label('A[6]', (269.42,0.5), layer=36, texttype=10))

lib.write_gds('GF018_256x8M8WM1_lef_256x8m81.gds')
